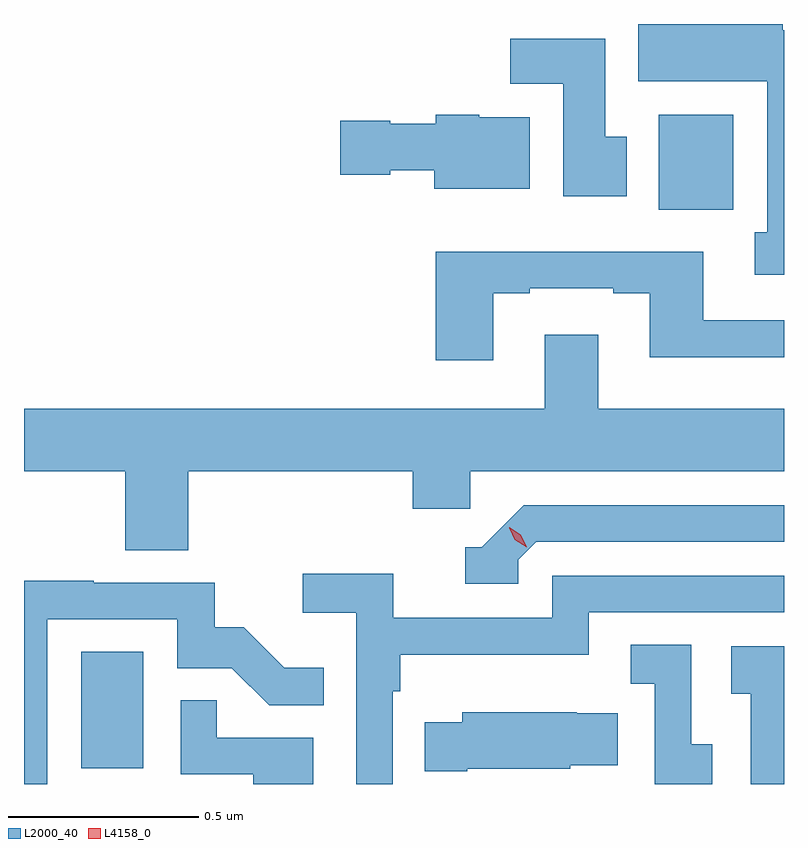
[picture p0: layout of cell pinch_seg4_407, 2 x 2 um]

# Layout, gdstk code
import gdstk
lib = gdstk.Library(unit=1e-6, precision=1e-09)
def R(c, l, rs):  # rectangles x0, y0, x1, y1
    for r in rs: c.add(gdstk.rectangle(r[:2], r[2:], *l))
def P(c, l, *ps):  # polygons
    for p in ps: c.add(gdstk.Polygon(p, *l))
L2000_40 = (2000, 40)
L4158_0 = (4158, 0)

pinch_seg4_407 = lib.new_cell('pinch_seg4_407')
R(pinch_seg4_407, L2000_40, [(974.732,780.054,974.896,780.361), (976.253,781.524,976.449,781.774)])
P(pinch_seg4_407, L2000_40, [(976.582,781.996),(976.579,781.996),(976.579,782.013),(976.199,782.013),(976.199,781.862),(976.538,781.862),(976.538,781.465),(976.505,781.465),(976.505,781.353),(976.582,781.353)],
  [(976.168,781.716),(976.111,781.716),(976.111,781.974),(975.862,781.974),(975.862,781.856),(976.001,781.856),(976.001,781.56),(976.168,781.56)],
  [(975.913,781.768),(975.78,781.768),(975.78,781.774),(975.666,781.774),(975.666,781.75),(975.546,781.75),(975.546,781.758),(975.414,781.758),(975.414,781.616),(975.546,781.616),(975.546,781.628),(975.662,781.628),(975.662,781.58),(975.913,781.58)],
  [(975.817,781.305),(975.913,781.305),(975.913,781.317),(976.133,781.317),(976.133,781.305),(976.229,781.305),(976.229,781.136),(976.582,781.136),(976.582,781.233),(976.369,781.233),(976.369,781.414),(975.665,781.414),(975.665,781.128),(975.817,781.128)],
  [(975.014,780.836),(975.605,780.836),(975.605,780.738),(975.756,780.738),(975.756,780.836),(976.582,780.836),(976.582,781),(976.093,781),(976.093,781.195),(975.953,781.195),(975.953,781),(974.582,781),(974.582,780.836),(974.849,780.836),(974.849,780.628),(975.014,780.628)],
  [(975.882,780.603),(975.93,780.651),(976.582,780.651),(976.582,780.747),(975.897,780.747),(975.786,780.636),(975.743,780.636),(975.743,780.54),(975.882,780.54)],
  [(975.552,780.257),(975.572,780.257),(975.572,780.353),(976.068,780.353),(976.068,780.465),(976.582,780.465),(976.582,780.561),(975.972,780.561),(975.972,780.45),(975.554,780.45),(975.554,780.566),(975.315,780.566),(975.315,780.464),(975.456,780.464),(975.456,780.013),(975.552,780.013)],
  [(974.643,780.447),(974.985,780.447),(974.985,780.318),(975.129,780.318),(975.227,780.22),(975.371,780.22),(975.371,780.319),(975.267,780.319),(975.16,780.426),(975.084,780.426),(975.084,780.543),(974.765,780.543),(974.765,780.548),(974.582,780.548),(974.582,780.013),(974.643,780.013)],
  [(976.393,780.117),(976.338,780.117),(976.338,780.38),(976.179,780.38),(976.179,780.277),(976.242,780.277),(976.242,780.013),(976.393,780.013)],
  [(976.582,780.375),(976.443,780.375),(976.443,780.251),(976.494,780.251),(976.494,780.013),(976.582,780.013)],
  [(975.343,780.135),(975.089,780.135),(975.089,780.233),(974.994,780.233),(974.994,780.039),(975.185,780.039),(975.185,780.013),(975.343,780.013)],
  [(975.748,780.053),(976.02,780.053),(976.02,780.062),(976.145,780.062),(976.145,780.199),(976.037,780.199),(976.037,780.202),(975.735,780.202),(975.735,780.175),(975.637,780.175),(975.637,780.046),(975.748,780.046)])
P(pinch_seg4_407, L4158_0, [(975.905,780.636),(975.874,780.656),(975.859,780.688),(975.859,780.689),(975.859,780.689),(975.889,780.669),(975.905,780.637),(975.905,780.636)])

lib.write_gds('pinch_seg4_407.gds')
